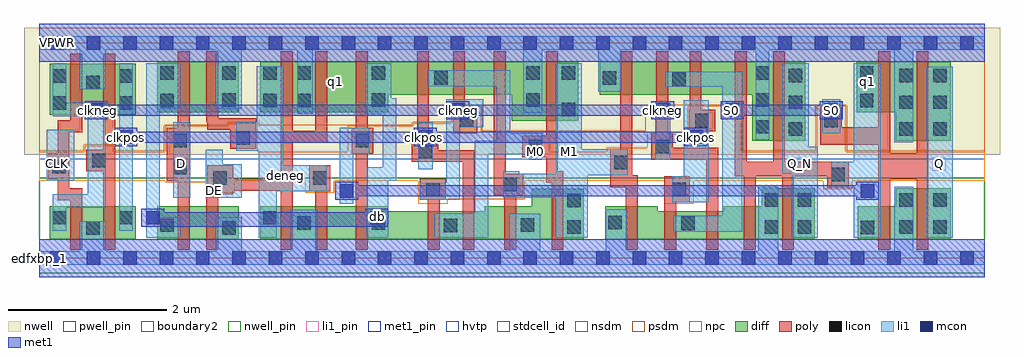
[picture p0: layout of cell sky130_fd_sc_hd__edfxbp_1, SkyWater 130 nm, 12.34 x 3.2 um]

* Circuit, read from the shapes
.subckt sky130_fd_sc_hd__edfxbp_1 CLK D DE Q Q_N VGND VNB VPB VPWR
XM1 VGND CLK n1 VNB sky130_fd_pr__nfet_01v8 w=0.42 l=0.15
XM2 n2 n1 VGND VNB sky130_fd_pr__nfet_01v8 w=0.42 l=0.15
XM3 n3 D n4 VNB sky130_fd_pr__nfet_01v8 w=0.42 l=0.15
XM4 VGND DE n3 VNB sky130_fd_pr__nfet_01v8 w=0.42 l=0.15
XM5 VGND DE n5 VNB sky130_fd_pr__nfet_01v8 w=0.42 l=0.15
XM6 n6 n5 VGND VNB sky130_fd_pr__nfet_01v8 w=0.42 l=0.15
XM7 n4 n7 n6 VNB sky130_fd_pr__nfet_01v8 w=0.42 l=0.15
XM8 n8 n1 n4 VNB sky130_fd_pr__nfet_01v8 w=0.36 l=0.15
XM9 n9 n2 n8 VNB sky130_fd_pr__nfet_01v8 w=0.36 l=0.15
XM10 VGND n10 n9 VNB sky130_fd_pr__nfet_01v8 w=0.42 l=0.15
XM11 n10 n8 VGND VNB sky130_fd_pr__nfet_01v8 w=0.64 l=0.15
XM12 n11 n10 VGND VNB sky130_fd_pr__nfet_01v8 w=0.42 l=0.15
XM13 n12 n2 n11 VNB sky130_fd_pr__nfet_01v8 w=0.36 l=0.15
XM14 n13 n1 n12 VNB sky130_fd_pr__nfet_01v8 w=0.36 l=0.15
XM15 VGND n7 n13 VNB sky130_fd_pr__nfet_01v8 w=0.42 l=0.15
XM16 Q_N n7 VGND VNB sky130_fd_pr__nfet_01v8 w=0.65 l=0.15
XM17 VGND n12 n7 VNB sky130_fd_pr__nfet_01v8 w=0.42 l=0.15
XM18 Q n12 VGND VNB sky130_fd_pr__nfet_01v8 w=0.65 l=0.15
XM19 VPWR CLK n1 VPB sky130_fd_pr__pfet_01v8_hvt w=0.64 l=0.15
XM20 n2 n1 VPWR VPB sky130_fd_pr__pfet_01v8_hvt w=0.64 l=0.15
XM21 n14 D n4 VPB sky130_fd_pr__pfet_01v8_hvt w=0.64 l=0.15
XM22 VPWR n5 n14 VPB sky130_fd_pr__pfet_01v8_hvt w=0.64 l=0.15
XM23 VPWR DE n5 VPB sky130_fd_pr__pfet_01v8_hvt w=0.64 l=0.15
XM24 n15 DE VPWR VPB sky130_fd_pr__pfet_01v8_hvt w=0.64 l=0.15
XM25 n4 n7 n15 VPB sky130_fd_pr__pfet_01v8_hvt w=0.64 l=0.15
XM26 n8 n2 n4 VPB sky130_fd_pr__pfet_01v8_hvt w=0.42 l=0.15
XM27 n16 n1 n8 VPB sky130_fd_pr__pfet_01v8_hvt w=0.42 l=0.15
XM28 VPWR n10 n16 VPB sky130_fd_pr__pfet_01v8_hvt w=0.42 l=0.15
XM29 n10 n8 VPWR VPB sky130_fd_pr__pfet_01v8_hvt w=0.75 l=0.15
XM30 n17 n10 VPWR VPB sky130_fd_pr__pfet_01v8_hvt w=0.42 l=0.15
XM31 n12 n1 n17 VPB sky130_fd_pr__pfet_01v8_hvt w=0.42 l=0.15
XM32 n18 n2 n12 VPB sky130_fd_pr__pfet_01v8_hvt w=0.42 l=0.15
XM33 VPWR n7 n18 VPB sky130_fd_pr__pfet_01v8_hvt w=0.42 l=0.15
XM34 Q_N n7 VPWR VPB sky130_fd_pr__pfet_01v8_hvt w=1 l=0.15
XM35 VPWR n12 n7 VPB sky130_fd_pr__pfet_01v8_hvt w=0.64 l=0.15
XM36 Q n12 VPWR VPB sky130_fd_pr__pfet_01v8_hvt w=1 l=0.15
.ends

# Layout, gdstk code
import gdstk
lib = gdstk.Library(unit=1e-6, precision=1e-09)
def R(c, l, rs):  # rectangles x0, y0, x1, y1
    for r in rs: c.add(gdstk.rectangle(r[:2], r[2:], *l))
def A(c, l, x, y, w, h, nx, ny, dx, dy):  # array of equal rectangles
    R(c, l, [(x+i*dx, y+j*dy, x+i*dx+w, y+j*dy+h) for i in range(nx) for j in range(ny)])
def P(c, l, *ps):  # polygons
    for p in ps: c.add(gdstk.Polygon(p, *l))
nwell_pin = (64, 16)
nwell = (64, 20)
diff = (65, 20)
poly = (66, 20)
licon = (66, 44)
li1_pin = (67, 16)
li1 = (67, 20)
mcon = (67, 44)
met1_pin = (68, 16)
met1 = (68, 20)
hvtp = (78, 44)
stdcell_id = (81, 4)
nsdm = (93, 44)
psdm = (94, 20)
npc = (95, 20)
pwell_pin = (122, 16)
boundary2 = (236, 0)

sky130_fd_sc_hd__edfxbp_ = lib.new_cell('sky130_fd_sc_hd__edfxbp_1')
R(sky130_fd_sc_hd__edfxbp_, nwell_pin, [(0.145,2.635,0.315,2.805), (0.145,2.635,0.315,2.805)])
R(sky130_fd_sc_hd__edfxbp_, nwell, [(-0.19,1.305,12.15,2.91)])
R(sky130_fd_sc_hd__edfxbp_, diff, [(0.135,0.235,1.225,0.655), (1.495,0.235,2.525,0.655), (0.135,1.815,1.225,2.455), (1.495,1.845,2.525,2.485)])
P(sky130_fd_sc_hd__edfxbp_, diff, [(9.69,2.485),(7.09,2.485),(7.09,2.065),(9.02,2.065),(9.02,1.485),(9.69,1.485)],
  [(9.805,0.885),(9.135,0.885),(9.135,0.655),(8.66,0.655),(8.66,0.595),(7.82,0.595),(7.82,0.655),(7.16,0.655),(7.16,0.235),(9.805,0.235)],
  [(11.525,2.485),(10.34,2.485),(10.34,1.845),(10.835,1.845),(10.835,1.485),(11.525,1.485)],
  [(11.525,0.885),(10.835,0.885),(10.835,0.655),(10.35,0.655),(10.35,0.235),(11.525,0.235)],
  [(6.89,0.875),(6.23,0.875),(6.23,0.655),(5.635,0.655),(5.635,0.595),(4.415,0.595),(4.415,0.655),(2.795,0.655),(2.795,0.235),(6.89,0.235)],
  [(6.82,2.485),(2.795,2.485),(2.795,1.845),(4.415,1.845),(4.415,2.065),(5.975,2.065),(5.975,1.735),(6.82,1.735)])
P(sky130_fd_sc_hd__edfxbp_, poly, [(0.545,0.88),(0.385,0.88),(0.385,1.59),(0.545,1.59),(0.545,2.585),(0.395,2.585),(0.395,1.74),(0.235,1.74),(0.235,1.325),(0.115,1.325),(0.115,0.995),(0.235,0.995),(0.235,0.73),(0.395,0.73),(0.395,0.105),(0.545,0.105)],
  [(0.965,2.585),(0.815,2.585),(0.815,1.37),(0.595,1.37),(0.595,1.1),(0.815,1.1),(0.815,0.105),(0.965,0.105)],
  [(1.915,1.65),(1.905,1.65),(1.905,2.615),(1.755,2.615),(1.755,1.65),(1.615,1.65),(1.615,0.98),(1.755,0.98),(1.755,0.105),(1.905,0.105),(1.905,0.98),(1.915,0.98)],
  [(2.745,1.77),(2.265,1.77),(2.265,2.615),(2.115,2.615),(2.115,1.715),(2.125,1.715),(2.125,1.62),(2.415,1.62),(2.415,1.385),(2.745,1.385)],
  [(3.645,2.615),(3.495,2.615),(3.495,1.61),(3.205,1.61),(3.205,2.615),(3.055,2.615),(3.055,1),(2.455,1),(2.455,1.175),(2.125,1.175),(2.125,0.88),(2.115,0.88),(2.115,0.105),(2.265,0.105),(2.265,0.81),(2.455,0.81),(2.455,0.85),(3.055,0.85),(3.055,0.105),(3.205,0.105),(3.205,1.46),(3.645,1.46)],
  [(3.685,1.175),(3.415,1.175),(3.415,0.845),(3.495,0.845),(3.495,0.105),(3.645,0.105),(3.645,0.845),(3.685,0.845)],
  [(5.145,1.005),(4.815,1.005),(4.815,0.735),(4.915,0.735),(4.915,0.105),(5.065,0.105),(5.065,0.735),(5.145,0.735)],
  [(5.505,1.365),(5.045,1.365),(5.045,1.485),(4.93,1.485),(4.93,2.615),(4.78,2.615),(4.78,1.485),(4.715,1.485),(4.715,1.215),(5.355,1.215),(5.355,0.105),(5.505,0.105)],
  [(5.54,1.905),(5.385,1.905),(5.385,2.615),(5.235,2.615),(5.235,1.575),(5.54,1.575)],
  [(6.12,1.065),(5.9,1.065),(5.9,2.615),(5.75,2.615),(5.75,0.795),(5.885,0.795),(5.885,0.105),(6.035,0.105),(6.035,0.795),(6.12,0.795)],
  [(6.63,1.1),(6.56,1.1),(6.56,2.615),(6.41,2.615),(6.41,1.545),(6.11,1.545),(6.11,1.275),(6.41,1.275),(6.41,0.95),(6.48,0.95),(6.48,0.105),(6.63,0.105)],
  [(7.57,1.045),(7.5,1.045),(7.5,2.615),(7.35,2.615),(7.35,1.375),(7.225,1.375),(7.225,0.895),(7.42,0.895),(7.42,0.105),(7.57,0.105)],
  [(8.225,1.035),(7.905,1.035),(7.905,0.105),(8.055,0.105),(8.055,0.705),(8.225,0.705)],
  [(8.55,1.875),(8.375,1.875),(8.375,2.615),(8.225,2.615),(8.225,1.875),(8.22,1.875),(8.22,1.605),(8.55,1.605)],
  [(8.585,1.395),(8.01,1.395),(8.01,1.575),(7.955,1.575),(7.955,2.615),(7.805,2.615),(7.805,1.575),(7.74,1.575),(7.74,1.245),(8.435,1.245),(8.435,0.105),(8.585,0.105)],
  [(10.235,1.22),(9.43,1.22),(9.43,2.615),(9.28,2.615),(9.28,1.22),(8.945,1.22),(8.945,2.615),(8.795,2.615),(8.795,1.035),(8.91,1.035),(8.91,0.105),(9.06,0.105),(9.06,1.035),(9.395,1.035),(9.395,0.105),(9.545,0.105),(9.545,1.035),(9.965,1.035),(9.965,0.89),(10.235,0.89)],
  [(4.225,1.65),(4.155,1.65),(4.155,2.615),(4.005,2.615),(4.005,1.65),(3.955,1.65),(3.955,1.32),(4.005,1.32),(4.005,0.105),(4.155,0.105),(4.155,1.32),(4.225,1.32)],
  [(11.245,2.615),(11.095,2.615),(11.095,1.325),(10.76,1.325),(10.76,2.615),(10.61,2.615),(10.61,1.655),(10.15,1.655),(10.15,1.905),(9.88,1.905),(9.88,1.43),(10.61,1.43),(10.61,0.105),(10.76,0.105),(10.76,0.995),(11.095,0.995),(11.095,0.105),(11.245,0.105)])
A(sky130_fd_sc_hd__edfxbp_, licon, 9.48, 1.545, 0.17, 0.17, 1, 3, 0, 0.34)
A(sky130_fd_sc_hd__edfxbp_, licon, 10.875, 1.545, 0.17, 0.17, 1, 3, 0, 0.34)
A(sky130_fd_sc_hd__edfxbp_, licon, 11.305, 1.545, 0.17, 0.17, 1, 3, 0, 0.34)
A(sky130_fd_sc_hd__edfxbp_, licon, 9.06, 1.575, 0.17, 0.17, 1, 3, 0, 0.34)
R(sky130_fd_sc_hd__edfxbp_, licon, [(0.595,0.295,0.765,0.465), (2.315,0.295,2.485,0.465), (10.39,0.3,10.56,0.47), (6.68,0.305,6.85,0.475), (9.175,0.31,9.345,0.48), (9.595,0.31,9.765,0.48), (10.875,0.31,11.045,0.48), (11.305,0.31,11.475,0.48), (5.115,0.325,5.285,0.495), (1.535,0.33,1.705,0.5), (6.09,0.335,6.26,0.505), (8.12,0.35,8.29,0.52), (3.265,0.36,3.435,0.53), (4.205,0.36,4.375,0.53), (7.2,0.365,7.37,0.535), (0.175,0.425,0.345,0.595), (1.015,0.425,1.185,0.595), (2.835,0.425,3.005,0.595), (6.68,0.645,6.85,0.815), (9.175,0.65,9.345,0.82), (9.595,0.65,9.765,0.82), (10.875,0.65,11.045,0.82), (11.305,0.65,11.475,0.82), (4.895,0.785,5.065,0.955), (8.005,0.785,8.175,0.955), (5.87,0.845,6.04,1.015), (2.205,0.925,2.375,1.095), (3.465,0.925,3.635,1.095), (10.015,0.97,10.185,1.14), (1.695,1.06,1.865,1.23), (0.165,1.075,0.335,1.245), (7.275,1.125,7.445,1.295), (0.675,1.15,0.845,1.32), (4.795,1.265,4.965,1.435), (6.19,1.325,6.36,1.495), (7.79,1.325,7.96,1.495), (1.695,1.4,1.865,1.57), (4.005,1.4,4.175,1.57), (2.495,1.435,2.665,1.605), (5.32,1.655,5.49,1.825), (8.3,1.655,8.47,1.825), (9.93,1.655,10.1,1.825), (6.61,1.795,6.78,1.965), (0.175,1.875,0.345,2.045), (1.015,1.875,1.185,2.045), (1.535,1.905,1.705,2.075), (2.835,1.905,3.005,2.075), (3.265,1.905,3.435,2.075), (10.38,1.905,10.55,2.075), (2.315,1.915,2.485,2.085), (4.205,1.915,4.375,2.085), (6.16,1.915,6.33,2.085), (0.595,2.135,0.765,2.305), (8.005,2.175,8.175,2.345), (4.995,2.19,5.165,2.36), (7.13,2.19,7.3,2.36), (0.175,2.215,0.345,2.385), (1.015,2.215,1.185,2.385), (1.535,2.255,1.705,2.425), (2.315,2.255,2.485,2.425), (2.835,2.255,3.005,2.425), (3.265,2.255,3.435,2.425), (4.205,2.255,4.375,2.425), (6.16,2.255,6.33,2.425), (6.61,2.255,6.78,2.425), (10.38,2.255,10.55,2.425)])
R(sky130_fd_sc_hd__edfxbp_, li1_pin, [(2.13,0.765,2.3,0.935), (0.145,1.105,0.315,1.275), (1.72,1.105,1.89,1.275), (9.525,1.105,9.695,1.275), (11.295,1.105,11.465,1.275)])
R(sky130_fd_sc_hd__edfxbp_, li1, [(11.225,0.255,11.555,2.42), (1.015,0.345,1.185,2.465), (1.695,0.765,1.915,1.72), (0.095,0.975,0.445,1.625), (4.795,1.125,4.98,1.72), (7.79,1.245,7.98,1.965), (9.9,1.575,10.13,2.01)])
P(sky130_fd_sc_hd__edfxbp_, li1, [(0.845,1.965),(0.345,1.965),(0.345,2.465),(0.175,2.465),(0.175,1.795),(0.615,1.795),(0.615,0.805),(0.175,0.805),(0.175,0.345),(0.345,0.345),(0.345,0.635),(0.845,0.635)],
  [(1.785,0.515),(1.525,0.515),(1.525,1.89),(1.785,1.89),(1.785,2.465),(1.355,2.465),(1.355,0.255),(1.785,0.255)],
  [(2.565,1.185),(2.325,1.185),(2.325,1.37),(2.11,1.37),(2.11,0.765),(2.565,0.765)],
  [(6.36,1.575),(5.955,1.575),(5.955,2.375),(4.915,2.375),(4.915,2.175),(5.785,2.175),(5.785,1.485),(5.51,1.485),(5.51,0.565),(5.005,0.565),(5.005,0.255),(5.68,0.255),(5.68,1.315),(6.19,1.315),(6.19,1.245),(6.36,1.245)],
  [(7.445,1.375),(6.86,1.375),(6.86,2.465),(6.53,2.465),(6.53,1.065),(6.07,1.065),(6.07,1.095),(5.87,1.095),(5.87,0.765),(6.53,0.765),(6.53,0.255),(6.935,0.255),(6.935,1.045),(7.445,1.045)],
  [(8.47,1.995),(8.15,1.995),(8.15,1.035),(8.005,1.035),(8.005,0.705),(8.47,0.705)],
  [(8.89,2.355),(7.925,2.355),(7.925,2.165),(8.64,2.165),(8.64,0.535),(8.025,0.535),(8.025,0.33),(8.89,0.33)],
  [(9.845,1.41),(9.73,1.41),(9.73,2.465),(9.4,2.465),(9.4,1.065),(9.515,1.065),(9.515,0.255),(9.845,0.255)],
  [(10.64,2.465),(10.3,2.465),(10.3,1.22),(10.015,1.22),(10.015,0.89),(10.3,0.89),(10.3,0.255),(10.64,0.255)],
  [(11.96,2.805),(0,2.805),(0,2.635),(0.515,2.635),(0.515,2.135),(0.845,2.135),(0.845,2.635),(2.235,2.635),(2.235,1.89),(2.565,1.89),(2.565,2.635),(3.265,2.635),(3.265,1.825),(3.46,1.825),(3.46,2.635),(6.125,2.635),(6.125,1.835),(6.36,1.835),(6.36,2.635),(7.07,2.635),(7.07,2.105),(7.36,2.105),(7.36,2.635),(9.06,2.635),(9.06,1.495),(9.23,1.495),(9.23,2.635),(10.81,2.635),(10.81,1.465),(11.055,1.465),(11.055,2.635),(11.96,2.635)],
  [(11.96,0.085),(11.055,0.085),(11.055,0.9),(10.81,0.9),(10.81,0.085),(9.345,0.085),(9.345,0.9),(9.095,0.9),(9.095,0.085),(7.44,0.085),(7.44,0.615),(7.165,0.615),(7.165,0.085),(6.34,0.085),(6.34,0.56),(5.945,0.56),(5.945,0.085),(3.515,0.085),(3.515,0.61),(3.185,0.61),(3.185,0.085),(2.565,0.085),(2.565,0.515),(2.235,0.515),(2.235,0.085),(0.845,0.085),(0.845,0.465),(0.515,0.465),(0.515,0.085),(0,0.085),(0,-0.085),(11.96,-0.085)],
  [(5.615,2.005),(5.15,2.005),(5.15,0.955),(4.815,0.955),(4.815,0.735),(5.32,0.735),(5.32,1.655),(5.615,1.655)],
  [(3.635,1.175),(3.085,1.175),(3.085,2.425),(2.755,2.425),(2.755,1.72),(2.495,1.72),(2.495,1.355),(2.78,1.355),(2.78,0.255),(3.005,0.255),(3.005,0.845),(3.635,0.845)],
  [(4.175,1.65),(3.805,1.65),(3.805,0.685),(3.975,0.685),(3.975,1.32),(4.175,1.32)],
  [(4.515,2.02),(4.455,2.02),(4.455,2.465),(4.125,2.465),(4.125,1.82),(4.345,1.82),(4.345,1.15),(4.145,1.15),(4.145,0.255),(4.415,0.255),(4.415,0.98),(4.515,0.98)])
A(sky130_fd_sc_hd__edfxbp_, mcon, 0.145, -0.085, 0.17, 0.17, 26, 2, 0.46, 2.72)
R(sky130_fd_sc_hd__edfxbp_, mcon, [(1.355,0.425,1.525,0.595), (4.185,0.425,4.355,0.595), (3.805,0.765,3.975,0.935), (10.39,0.765,10.56,0.935), (1.015,1.445,1.185,1.615), (4.8,1.445,4.97,1.615), (8.22,1.445,8.39,1.615), (0.635,1.785,0.805,1.955), (5.21,1.785,5.38,1.955), (7.8,1.785,7.97,1.955), (8.68,1.785,8.85,1.955), (9.93,1.785,10.1,1.955)])
R(sky130_fd_sc_hd__edfxbp_, met1_pin, [(0.145,-0.085,0.315,0.085), (0.145,2.635,0.315,2.805)])
R(sky130_fd_sc_hd__edfxbp_, met1, [(0,-0.24,11.96,0.24), (0,2.48,11.96,2.96)])
P(sky130_fd_sc_hd__edfxbp_, met1, [(10.62,0.965),(10.33,0.965),(10.33,0.92),(4.035,0.92),(4.035,0.965),(3.745,0.965),(3.745,0.735),(4.035,0.735),(4.035,0.78),(10.33,0.78),(10.33,0.735),(10.62,0.735)],
  [(8.45,1.645),(8.16,1.645),(8.16,1.6),(5.03,1.6),(5.03,1.645),(4.74,1.645),(4.74,1.6),(1.245,1.6),(1.245,1.645),(0.955,1.645),(0.955,1.415),(1.245,1.415),(1.245,1.46),(4.74,1.46),(4.74,1.415),(5.03,1.415),(5.03,1.46),(8.16,1.46),(8.16,1.415),(8.45,1.415)],
  [(8.03,1.985),(7.74,1.985),(7.74,1.94),(5.44,1.94),(5.44,1.985),(5.15,1.985),(5.15,1.94),(0.865,1.94),(0.865,1.985),(0.575,1.985),(0.575,1.755),(0.865,1.755),(0.865,1.8),(5.15,1.8),(5.15,1.755),(5.44,1.755),(5.44,1.8),(7.74,1.8),(7.74,1.755),(8.03,1.755)],
  [(4.415,0.625),(4.125,0.625),(4.125,0.58),(1.585,0.58),(1.585,0.625),(1.295,0.625),(1.295,0.395),(4.415,0.395)],
  [(10.16,1.985),(9.87,1.985),(9.87,1.94),(8.91,1.94),(8.91,1.985),(8.62,1.985),(8.62,1.755),(8.91,1.755),(8.91,1.8),(9.87,1.8),(9.87,1.755),(10.16,1.755)])
R(sky130_fd_sc_hd__edfxbp_, hvtp, [(0,1.25,11.96,2.72)])
R(sky130_fd_sc_hd__edfxbp_, stdcell_id, [(0,0,11.96,2.72)])
R(sky130_fd_sc_hd__edfxbp_, nsdm, [(0,-0.19,11.96,1.015)])
P(sky130_fd_sc_hd__edfxbp_, psdm, [(11.96,2.91),(0,2.91),(0,1.355),(0.565,1.355),(0.565,1.43),(0.955,1.43),(0.955,1.355),(1.585,1.355),(1.585,1.68),(2.385,1.68),(2.385,1.715),(2.775,1.715),(2.775,1.68),(4.72,1.68),(4.72,1.715),(5.21,1.715),(5.21,1.935),(5.6,1.935),(5.6,1.605),(7.67,1.605),(7.67,1.935),(8.89,1.935),(8.89,1.355),(9.82,1.355),(9.82,1.935),(10.21,1.935),(10.21,1.355),(11.96,1.355)])
P(sky130_fd_sc_hd__edfxbp_, npc, [(11.96,1.345),(10.2,1.345),(10.2,1.925),(9.83,1.925),(9.83,1.345),(8.88,1.345),(8.88,1.925),(8.2,1.925),(8.2,1.595),(7.69,1.595),(7.69,1.395),(7.175,1.395),(7.175,1.345),(6.46,1.345),(6.46,1.595),(5.59,1.595),(5.59,1.925),(5.22,1.925),(5.22,1.705),(4.73,1.705),(4.73,1.67),(3.905,1.67),(3.905,1.345),(2.765,1.345),(2.765,1.705),(2.395,1.705),(2.395,1.67),(1.595,1.67),(1.595,1.345),(0.945,1.345),(0.945,1.42),(0.575,1.42),(0.575,1.345),(0,1.345),(0,0.975),(1.595,0.975),(1.595,0.96),(2.105,0.96),(2.105,0.825),(2.475,0.825),(2.475,0.975),(3.365,0.975),(3.365,0.825),(3.735,0.825),(3.735,0.975),(4.795,0.975),(4.795,0.685),(5.165,0.685),(5.165,0.745),(6.14,0.745),(6.14,0.975),(7.905,0.975),(7.905,0.685),(8.275,0.685),(8.275,0.975),(9.915,0.975),(9.915,0.87),(10.285,0.87),(10.285,0.975),(11.96,0.975)])
R(sky130_fd_sc_hd__edfxbp_, pwell_pin, [(0.145,-0.085,0.315,0.085), (0.145,-0.085,0.315,0.085)])
R(sky130_fd_sc_hd__edfxbp_, boundary2, [(0,0,11.96,2.72)])
sky130_fd_sc_hd__edfxbp_.add(gdstk.Label('edfxbp_1', (0,0), layer=83, texttype=44))
sky130_fd_sc_hd__edfxbp_.add(gdstk.Label('clkpos', (4.865,1.52), layer=83, texttype=44))
sky130_fd_sc_hd__edfxbp_.add(gdstk.Label('clkneg', (5.3,1.87), layer=83, texttype=44))
sky130_fd_sc_hd__edfxbp_.add(gdstk.Label('S0', (10.025,1.87), layer=83, texttype=44))
sky130_fd_sc_hd__edfxbp_.add(gdstk.Label('clkpos', (1.095,1.52), layer=83, texttype=44))
sky130_fd_sc_hd__edfxbp_.add(gdstk.Label('clkneg', (0.735,1.87), layer=83, texttype=44))
sky130_fd_sc_hd__edfxbp_.add(gdstk.Label('deneg', (3.115,1.045), layer=83, texttype=44))
sky130_fd_sc_hd__edfxbp_.add(gdstk.Label('db', (4.275,0.52), layer=83, texttype=44))
sky130_fd_sc_hd__edfxbp_.add(gdstk.Label('q1', (3.745,2.23), layer=83, texttype=44))
sky130_fd_sc_hd__edfxbp_.add(gdstk.Label('q1', (10.48,2.23), layer=83, texttype=44))
sky130_fd_sc_hd__edfxbp_.add(gdstk.Label('clkpos', (8.3,1.52), layer=83, texttype=44))
sky130_fd_sc_hd__edfxbp_.add(gdstk.Label('clkneg', (7.885,1.87), layer=83, texttype=44))
sky130_fd_sc_hd__edfxbp_.add(gdstk.Label('S0', (8.76,1.87), layer=83, texttype=44))
sky130_fd_sc_hd__edfxbp_.add(gdstk.Label('M0', (6.28,1.345), layer=83, texttype=44))
sky130_fd_sc_hd__edfxbp_.add(gdstk.Label('M1', (6.71,1.345), layer=83, texttype=44))
sky130_fd_sc_hd__edfxbp_.add(gdstk.Label('VPWR', (0.23,2.72), layer=68, texttype=5))
sky130_fd_sc_hd__edfxbp_.add(gdstk.Label('VGND', (0.23,0), layer=68, texttype=5))
sky130_fd_sc_hd__edfxbp_.add(gdstk.Label('CLK', (0.23,1.19), layer=67, texttype=5))
sky130_fd_sc_hd__edfxbp_.add(gdstk.Label('Q_N', (9.61,1.19), layer=67, texttype=5))
sky130_fd_sc_hd__edfxbp_.add(gdstk.Label('DE', (2.215,0.85), layer=67, texttype=5))
sky130_fd_sc_hd__edfxbp_.add(gdstk.Label('D', (1.805,1.19), layer=67, texttype=5))
sky130_fd_sc_hd__edfxbp_.add(gdstk.Label('Q', (11.38,1.19), layer=67, texttype=5))
sky130_fd_sc_hd__edfxbp_.add(gdstk.Label('VPB', (0.23,2.72), layer=64, texttype=5))
sky130_fd_sc_hd__edfxbp_.add(gdstk.Label('VPB', (0.23,2.72), layer=64, texttype=5))
sky130_fd_sc_hd__edfxbp_.add(gdstk.Label('VNB', (0.23,0), layer=64, texttype=59))
sky130_fd_sc_hd__edfxbp_.add(gdstk.Label('VNB', (0.23,0), layer=64, texttype=59))
sky130_fd_sc_hd__edfxbp_.add(gdstk.Label('VNB', (0.23,0), layer=64, texttype=59))

lib.write_gds('sky130_fd_sc_hd__edfxbp_1.gds')
